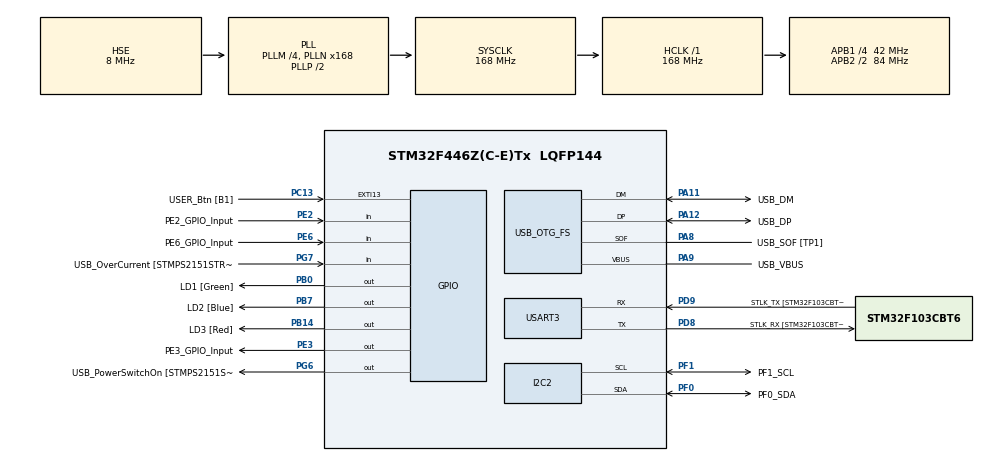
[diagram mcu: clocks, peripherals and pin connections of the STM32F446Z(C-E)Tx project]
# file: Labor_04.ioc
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Mcu.Family=STM32F4
Mcu.Name=STM32F446Z(C-E)Tx
Mcu.Package=LQFP144
NVIC.PriorityGroup=NVIC_PRIORITYGROUP_4
PA10.GPIO_Label=USB_ID
PA10.Signal=USB_OTG_FS_ID
PA11.GPIO_Label=USB_DM
PA11.Mode=Device_Only
PA11.Signal=USB_OTG_FS_DM
PA12.GPIO_Label=USB_DP
PA12.Mode=Device_Only
PA12.Signal=USB_OTG_FS_DP
PA13.GPIO_Label=TMS
PA13.Mode=Serial_Wire
PA13.Signal=SYS_JTMS-SWDIO
PA14.GPIO_Label=TCK
PA14.Mode=Serial_Wire
PA14.Signal=SYS_JTCK-SWCLK
PA8.GPIO_Label=USB_SOF [TP1]
PA8.Mode=Activate_SOF_FS
PA8.Signal=USB_OTG_FS_SOF
PA9.GPIO_Label=USB_VBUS
PA9.Mode=Activate_VBUS
PA9.Signal=USB_OTG_FS_VBUS
PB0.GPIO_Label=LD1 [Green]
PB0.Signal=GPIO_Output
PB14.GPIO_Label=LD3 [Red]
PB14.Signal=GPIO_Output
PB7.GPIO_Label=LD2 [Blue]
PB7.Signal=GPIO_Output
PC13.GPIO_Label=USER_Btn [B1]
PC13.Signal=GPXTI13
PC14-OSC32_IN.Mode=LSE-External-Oscillator
PC14-OSC32_IN.Signal=RCC_OSC32_IN
PC15-OSC32_OUT.Mode=LSE-External-Oscillator
PC15-OSC32_OUT.Signal=RCC_OSC32_OUT
PD8.GPIO_Label=STLK_RX [STM32F103CBT6_PA3]
PD8.Mode=Asynchronous
PD8.Signal=USART3_TX
PD9.GPIO_Label=STLK_TX [STM32F103CBT6_PA2]
PD9.Mode=Asynchronous
PD9.Signal=USART3_RX
PE2.GPIO_Label=PE2_GPIO_Input
PE2.GPIO_PuPd=GPIO_PULLDOWN
PE2.Signal=GPIO_Input
PE3.GPIO_Label=PE3_GPIO_Input
PE3.GPIO_PuPd=GPIO_PULLDOWN
PE3.Signal=GPIO_Output
PE6.GPIO_Label=PE6_GPIO_Input
PE6.GPIO_PuPd=GPIO_PULLDOWN
PE6.Signal=GPIO_Input
PF0.GPIO_Label=PF0_SDA
PF0.Mode=I2C
PF0.Signal=I2C2_SDA
PF1.GPIO_Label=PF1_SCL
PF1.Mode=I2C
PF1.Signal=I2C2_SCL
PG6.GPIO_Label=USB_PowerSwitchOn [STMPS2151STR_EN]
PG6.Signal=GPIO_Output
PG7.GPIO_Label=USB_OverCurrent [STMPS2151STR_FAULT]
PG7.Signal=GPIO_Input
PH0-OSC_IN.GPIO_Label=MCO [STM32F103CBT6_PA8]
PH0-OSC_IN.Mode=HSE-External-Clock-Source
PH0-OSC_IN.Signal=RCC_OSC_IN
PH1-OSC_OUT.Mode=HSE-External-Clock-Source
PH1-OSC_OUT.Signal=RCC_OSC_OUT
ProjectManager.HeapSize=0x200
ProjectManager.StackSize=0x400
ProjectManager.TargetToolchain=STM32CubeIDE
RCC.48MHZClocksFreq_Value=24000000
RCC.AHBFreq_Value=168000000
RCC.APB1CLKDivider=RCC_HCLK_DIV4
RCC.APB1Freq_Value=42000000
RCC.APB1TimFreq_Value=84000000
RCC.APB2CLKDivider=RCC_HCLK_DIV2
RCC.APB2Freq_Value=84000000
RCC.APB2TimFreq_Value=168000000
RCC.CortexFreq_Value=168000000
RCC.HCLKFreq_Value=168000000
RCC.HSE_VALUE=8000000
RCC.HSI_VALUE=16000000
RCC.PLLM=4
RCC.PLLMUL=RCC_PLL_MUL9
RCC.PLLN=168
RCC.PLLQ=7
RCC.PRESCALERUSB=RCC_USBCLKSOURCE_PLL_DIV1_5
RCC.SYSCLKFreq_VALUE=168000000
RCC.SYSCLKSource=RCC_SYSCLKSOURCE_PLLCLK
RCC.SYSCLKSourceVirtual=RCC_SYSCLKSOURCE_PLLCLK
RCC.USBFreq_Value=48000000
RCC.VCOOutputFreq_Value=336000000
USART3.VirtualMode=VM_ASYNC
USB_OTG_FS.VirtualMode=Device_Only
board=NUCLEO-F446ZE

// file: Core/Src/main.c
/* USER CODE BEGIN Header */
/**
  * @file           : main.c
  * @brief          : OLED alakzatrajzolas 3 gombbal
  */
/* USER CODE END Header */

#include "main.h"

/* USER CODE BEGIN Includes */
#include "OLED.h"
/* USER CODE END Includes */

I2C_HandleTypeDef hi2c2;
UART_HandleTypeDef huart3;
PCD_HandleTypeDef hpcd_USB_OTG_FS;

/* USER CODE BEGIN PV */
uint8_t elozo_gombok = 0;
/* USER CODE END PV */

void SystemClock_Config(void);
static void MX_GPIO_Init(void);
static void MX_USART3_UART_Init(void);
static void MX_USB_OTG_FS_PCD_Init(void);
static void MX_I2C2_Init(void);

/* USER CODE BEGIN PFP */
void Alakzat_Rajzolas(uint8_t tipus);
/* USER CODE END PFP */

/* USER CODE BEGIN 0 */

void Alakzat_Rajzolas(uint8_t tipus)
{
    OLED_Fill(BLACK);

    if (tipus == 0)
    {
        /* Haromszog */
        OLED_Vertex haromszog[] = {
            {64, 8},
            {25, 55},
            {103, 55},
            {64, 8}
        };

        OLED_DrawPolyline(haromszog, 4, WHITE);
    }
    else if (tipus == 1)
    {
        /* Negyzet */
        OLED_DrawRectangle(32, 12, 96, 52, WHITE);
    }
    else if (tipus == 2)
    {
        /* Kor */
        OLED_DrawCircle(64, 32, 23, WHITE);
    }

    OLED_UpdateScreen();
}

/* USER CODE END 0 */

int main(void)
{
    /* MCU Configuration------------------------------------------------------*/

    HAL_Init();

    /* Configure the system clock */
    SystemClock_Config();

    /* Initialize all configured peripherals */
    MX_GPIO_Init();
    MX_USART3_UART_Init();
    MX_USB_OTG_FS_PCD_Init();
    MX_I2C2_Init();

    /* USER CODE BEGIN 2 */

    OLED_Init();

    OLED_Fill(BLACK);
    OLED_UpdateScreen();

    /* Kezdo alakzat: haromszog */
    Alakzat_Rajzolas(0);

    /* USER CODE END 2 */

    /* Infinite loop */
    /* USER CODE BEGIN WHILE */
    while (1)
    {
        uint8_t gombok = 0;

        /* PE2 gomb */
        if (HAL_GPIO_ReadPin(GPIOE, PE2_GPIO_Input_Pin)
            == GPIO_PIN_SET)
        {
            gombok |= 0x01;
        }

        /* PE3 gomb */
        if (HAL_GPIO_ReadPin(GPIOE, PE3_GPIO_Input_Pin)
            == GPIO_PIN_SET)
        {
            gombok |= 0x02;
        }

        /* PE6 gomb */
        if (HAL_GPIO_ReadPin(GPIOE, PE6_GPIO_Input_Pin)
            == GPIO_PIN_SET)
        {
            gombok |= 0x04;
        }

        /* Uj gombnyomas felismerese */
        if (gombok != elozo_gombok)
        {
            if ((gombok & 0x01) &&
                !(elozo_gombok & 0x01))
            {
                Alakzat_Rajzolas(0);
            }
            else if ((gombok & 0x02) &&
                     !(elozo_gombok & 0x02))
            {
                Alakzat_Rajzolas(1);
            }
            else if ((gombok & 0x04) &&
                     !(elozo_gombok & 0x04))
            {
                Alakzat_Rajzolas(2);
            }

            elozo_gombok = gombok;
            HAL_Delay(30);
        }

        HAL_Delay(10);
    }
    /* USER CODE END WHILE */
}

void SystemClock_Config(void)
{
    RCC_OscInitTypeDef RCC_OscInitStruct = {0};
    RCC_ClkInitTypeDef RCC_ClkInitStruct = {0};

    /* Configure the main internal regulator output voltage */
    __HAL_RCC_PWR_CLK_ENABLE();
    __HAL_PWR_VOLTAGESCALING_CONFIG(
        PWR_REGULATOR_VOLTAGE_SCALE1
    );

    /* Initializes the RCC Oscillators */
    RCC_OscInitStruct.OscillatorType =
        RCC_OSCILLATORTYPE_HSE;

    RCC_OscInitStruct.HSEState =
        RCC_HSE_BYPASS;

    RCC_OscInitStruct.PLL.PLLState =
        RCC_PLL_ON;

    RCC_OscInitStruct.PLL.PLLSource =
        RCC_PLLSOURCE_HSE;

    RCC_OscInitStruct.PLL.PLLM = 4;
    RCC_OscInitStruct.PLL.PLLN = 168;
    RCC_OscInitStruct.PLL.PLLP = RCC_PLLP_DIV2;
    RCC_OscInitStruct.PLL.PLLQ = 7;
    RCC_OscInitStruct.PLL.PLLR = 2;

    if (HAL_RCC_OscConfig(&RCC_OscInitStruct)
        != HAL_OK)
    {
        Error_Handler();
    }

    /* Initializes the CPU, AHB and APB buses clocks */
    RCC_ClkInitStruct.ClockType =
        RCC_CLOCKTYPE_HCLK |
        RCC_CLOCKTYPE_SYSCLK |
        RCC_CLOCKTYPE_PCLK1 |
        RCC_CLOCKTYPE_PCLK2;

    RCC_ClkInitStruct.SYSCLKSource =
        RCC_SYSCLKSOURCE_PLLCLK;

    RCC_ClkInitStruct.AHBCLKDivider =
        RCC_SYSCLK_DIV1;

    RCC_ClkInitStruct.APB1CLKDivider =
        RCC_HCLK_DIV4;

    RCC_ClkInitStruct.APB2CLKDivider =
        RCC_HCLK_DIV2;

    if (HAL_RCC_ClockConfig(&RCC_ClkInitStruct,
                            FLASH_LATENCY_5)
        != HAL_OK)
    {
        Error_Handler();
    }
}

static void MX_I2C2_Init(void)
{
    hi2c2.Instance = I2C2;

    hi2c2.Init.ClockSpeed = 100000;
    hi2c2.Init.DutyCycle = I2C_DUTYCYCLE_2;
    hi2c2.Init.OwnAddress1 = 0;
    hi2c2.Init.AddressingMode =
        I2C_ADDRESSINGMODE_7BIT;
    hi2c2.Init.DualAddressMode =
        I2C_DUALADDRESS_DISABLE;
    hi2c2.Init.OwnAddress2 = 0;
    hi2c2.Init.GeneralCallMode =
        I2C_GENERALCALL_DISABLE;
    hi2c2.Init.NoStretchMode =
        I2C_NOSTRETCH_DISABLE;

    if (HAL_I2C_Init(&hi2c2) != HAL_OK)
    {
        Error_Handler();
    }
}

static void MX_USART3_UART_Init(void)
{
    huart3.Instance = USART3;

    huart3.Init.BaudRate = 115200;
    huart3.Init.WordLength = UART_WORDLENGTH_8B;
    huart3.Init.StopBits = UART_STOPBITS_1;
    huart3.Init.Parity = UART_PARITY_NONE;
    huart3.Init.Mode = UART_MODE_TX_RX;
    huart3.Init.HwFlowCtl = UART_HWCONTROL_NONE;
    huart3.Init.OverSampling = UART_OVERSAMPLING_16;

    if (HAL_UART_Init(&huart3) != HAL_OK)
    {
        Error_Handler();
    }
}

static void MX_USB_OTG_FS_PCD_Init(void)
{
    hpcd_USB_OTG_FS.Instance = USB_OTG_FS;

    hpcd_USB_OTG_FS.Init.dev_endpoints = 6;
    hpcd_USB_OTG_FS.Init.speed = PCD_SPEED_FULL;
    hpcd_USB_OTG_FS.Init.dma_enable = DISABLE;
    hpcd_USB_OTG_FS.Init.phy_itface =
        PCD_PHY_EMBEDDED;
    hpcd_USB_OTG_FS.Init.Sof_enable = ENABLE;
    hpcd_USB_OTG_FS.Init.low_power_enable = DISABLE;
    hpcd_USB_OTG_FS.Init.lpm_enable = DISABLE;
    hpcd_USB_OTG_FS.Init.vbus_sensing_enable = ENABLE;
    hpcd_USB_OTG_FS.Init.use_dedicated_ep1 = DISABLE;

    if (HAL_PCD_Init(&hpcd_USB_OTG_FS) != HAL_OK)
    {
        Error_Handler();
    }
}

static void MX_GPIO_Init(void)
{
    GPIO_InitTypeDef GPIO_InitStruct = {0};

    /* GPIO Ports Clock Enable */
    __HAL_RCC_GPIOE_CLK_ENABLE();
    __HAL_RCC_GPIOC_CLK_ENABLE();
    __HAL_RCC_GPIOF_CLK_ENABLE();
    __HAL_RCC_GPIOH_CLK_ENABLE();
    __HAL_RCC_GPIOB_CLK_ENABLE();
    __HAL_RCC_GPIOD_CLK_ENABLE();
    __HAL_RCC_GPIOG_CLK_ENABLE();
    __HAL_RCC_GPIOA_CLK_ENABLE();

    /* LED-ek alapallapota */
    HAL_GPIO_WritePin(GPIOB,
                      LD1_Pin | LD3_Pin | LD2_Pin,
                      GPIO_PIN_RESET);

    /* USB Power Switch alapallapota */
    HAL_GPIO_WritePin(USB_PowerSwitchOn_GPIO_Port,
                      USB_PowerSwitchOn_Pin,
                      GPIO_PIN_RESET);

    /* PE2, PE3, PE6: gombbemenetek */
    GPIO_InitStruct.Pin =
        PE2_GPIO_Input_Pin |
        PE3_GPIO_Input_Pin |
        PE6_GPIO_Input_Pin;

    GPIO_InitStruct.Mode = GPIO_MODE_INPUT;
    GPIO_InitStruct.Pull = GPIO_PULLDOWN;

    HAL_GPIO_Init(GPIOE, &GPIO_InitStruct);

    /* USER gomb konfiguracioja megmarad,
       de a program nem hasznalja */
    GPIO_InitStruct.Pin = USER_Btn_Pin;
    GPIO_InitStruct.Mode = GPIO_MODE_INPUT;
    GPIO_InitStruct.Pull = GPIO_NOPULL;

    HAL_GPIO_Init(USER_Btn_GPIO_Port,
                  &GPIO_InitStruct);

    /* LED-ek kimenetei */
    GPIO_InitStruct.Pin =
        LD1_Pin | LD3_Pin | LD2_Pin;

    GPIO_InitStruct.Mode = GPIO_MODE_OUTPUT_PP;
    GPIO_InitStruct.Pull = GPIO_NOPULL;
    GPIO_InitStruct.Speed = GPIO_SPEED_FREQ_LOW;

    HAL_GPIO_Init(GPIOB, &GPIO_InitStruct);

    /* USB Power Switch kimenet */
    GPIO_InitStruct.Pin =
        USB_PowerSwitchOn_Pin;

    GPIO_InitStruct.Mode = GPIO_MODE_OUTPUT_PP;
    GPIO_InitStruct.Pull = GPIO_NOPULL;
    GPIO_InitStruct.Speed = GPIO_SPEED_FREQ_LOW;

    HAL_GPIO_Init(USB_PowerSwitchOn_GPIO_Port,
                  &GPIO_InitStruct);

    /* USB OverCurrent bemenet */
    GPIO_InitStruct.Pin =
        USB_OverCurrent_Pin;

    GPIO_InitStruct.Mode = GPIO_MODE_INPUT;
    GPIO_InitStruct.Pull = GPIO_NOPULL;

    HAL_GPIO_Init(USB_OverCurrent_GPIO_Port,
                  &GPIO_InitStruct);
}

/**
  * @brief This function is executed in case of
  *        error occurrence.
  * @retval None
  */
void Error_Handler(void)
{
    __disable_irq();

    while (1)
    {
    }
}
